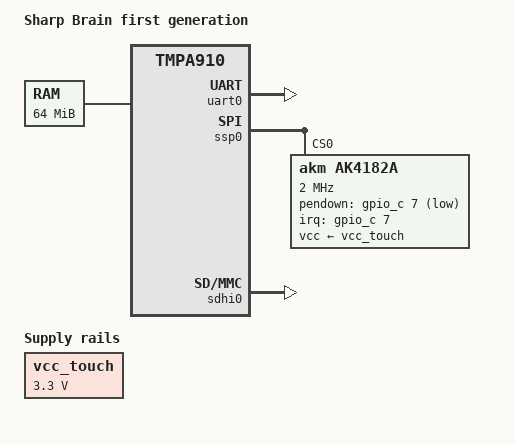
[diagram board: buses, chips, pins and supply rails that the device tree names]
// SPDX-License-Identifier: GPL-2.0-only
/*
 * Sharp Brain first-generation device tree.
 */
/dts-v1/;
#include <dt-bindings/gpio/gpio.h>
#include "tmpa910.dtsi"

/ {
	model = "Sharp Brain first generation";
	compatible = "sharp,brain-gen1", "toshiba,tmpa910";

	vcc_touch: regulator-vcc-touch {
		compatible = "regulator-fixed";
		regulator-name = "vcc-touch";
		regulator-min-microvolt = <3300000>;
		regulator-max-microvolt = <3300000>;
		regulator-always-on;
	};

	chosen {
		#address-cells = <1>;
		#size-cells = <1>;
		ranges;

		bootargs = "console=ttyAMA0,115200n8 console=tty0";
		stdout-path = "serial0:115200n8";

		framebuffer0: framebuffer@43e00000 {
			compatible = "simple-framebuffer";
			reg = <0x43e00000 0x00050000>;
			width = <480>;
			height = <320>;
			stride = <1024>;
			format = "r5g6b5";
		};
	};

	aliases {
		serial0 = &uart0;
	};

	memory@40000000 {
		device_type = "memory";
		reg = <0x40000000 0x04000000>;
	};


	keyboard@f0800000 {
		compatible = "sharp,brain-gen1-keyboard";
		matrix-in-gpios =
			<&gpio_a 0 GPIO_ACTIVE_HIGH>,
			<&gpio_a 1 GPIO_ACTIVE_HIGH>,
			<&gpio_a 2 GPIO_ACTIVE_HIGH>,
			<&gpio_a 3 GPIO_ACTIVE_HIGH>,
			<&gpio_a 4 GPIO_ACTIVE_HIGH>,
			<&gpio_a 5 GPIO_ACTIVE_HIGH>,
			<&gpio_a 6 GPIO_ACTIVE_HIGH>,
			<&gpio_a 7 GPIO_ACTIVE_HIGH>;
		matrix-out-gpios =
			<&gpio_b 0 (GPIO_ACTIVE_HIGH | GPIO_OPEN_DRAIN)>,
			<&gpio_b 1 (GPIO_ACTIVE_HIGH | GPIO_OPEN_DRAIN)>,
			<&gpio_b 2 (GPIO_ACTIVE_HIGH | GPIO_OPEN_DRAIN)>,
			<&gpio_b 3 (GPIO_ACTIVE_HIGH | GPIO_OPEN_DRAIN)>,
			<&gpio_b 4 (GPIO_ACTIVE_HIGH | GPIO_OPEN_DRAIN)>,
			<&gpio_b 5 (GPIO_ACTIVE_HIGH | GPIO_OPEN_DRAIN)>,
			<&gpio_b 6 (GPIO_ACTIVE_HIGH | GPIO_OPEN_DRAIN)>,
			<&gpio_b 7 (GPIO_ACTIVE_HIGH | GPIO_OPEN_DRAIN)>;
	};

	reserved-memory {
		#address-cells = <1>;
		#size-cells = <1>;
		ranges;

		framebuffer@43e00000 {
			reg = <0x43e00000 0x00050000>;
			no-map;
		};
	};
};

&uart0 {
	status = "okay";
};


&gpio_c {
	status = "okay";
};

&gpio_a {
	status = "okay";
};

&gpio_b {
	status = "okay";
};


&gpio_t {
	status = "okay";
	toshiba,ssp0-function;
};

&ssp0 {
	status = "okay";

	ak4182a@0 {
		compatible = "akm,ak4182a", "ti,ads7846";
		reg = <0>;
		spi-max-frequency = <2000000>;
		/* PC7/INT9 is aggregated by the TMPA910 GPIOC VIC source (30). */
		interrupt-parent = <&gpio_c>;
		interrupts = <7 IRQ_TYPE_EDGE_FALLING>;
		pendown-gpio = <&gpio_c 7 GPIO_ACTIVE_LOW>;
		vcc-supply = <&vcc_touch>;
		ti,x-plate-ohms = <280>;
		touchscreen-size-x = <4096>;
		touchscreen-size-y = <4096>;
	};
};

&sdhi0 {
	/* The slot's SDHI card-detect status stays low with a card inserted. */
	broken-cd;
	status = "okay";
};
